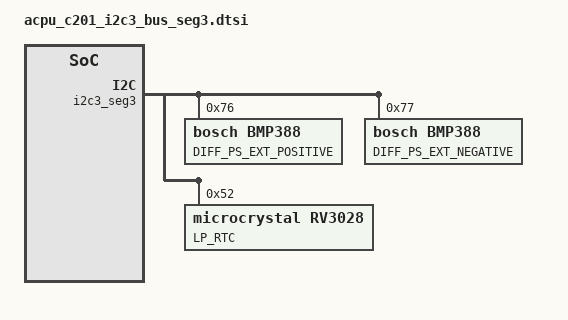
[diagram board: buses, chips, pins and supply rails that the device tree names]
/*
 * Copyright (c) 2021 Acme CPU
 *
 * SPDX-License-Identifier: Apache-2.0
 */

&i2c3_seg3 {

  p121_ps_ext: bmp388@76 {
    compatible = "bosch,bmp388";
    reg = <0x76>;
    label = "DIFF_PS_EXT_POSITIVE";
  };

  p122_ps_ext: bmp388@77 {
    compatible = "bosch,bmp388";
    reg = <0x77>;
    label = "DIFF_PS_EXT_NEGATIVE";
  };

  p26_rtc: rv3028@52 {
    compatible = "microcrystal,rv3028";
    reg = <0x52>;
    label = "LP_RTC";
  };

};
